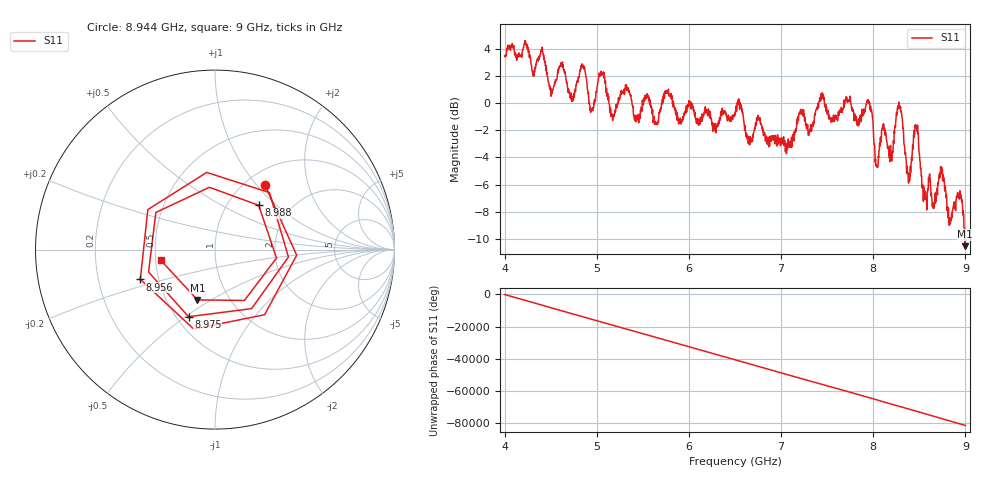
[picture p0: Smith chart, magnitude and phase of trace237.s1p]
! Created with skrf 1.8.0 (http://scikit-rf.org).
# Hz S RI R 50.0
!freq ReS11 ImS11
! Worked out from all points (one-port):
!   1601 points, 4 GHz to 9 GHz, reference 50 ohm
!   lowest |S11| = -10.6 dB at 8.997 GHz (marker M1), VSWR 1.84, Z = 35.5 - j21.8 ohm
!   |S11| at or under -10 dB: 8.995062 GHz to end of sweep
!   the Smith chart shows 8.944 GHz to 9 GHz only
!   S11 on the Smith chart (normalised r, x): 8.944 GHz: 1.21, +1.11; 8.956 GHz: 0.39, -0.16; 8.975 GHz: 0.58, -0.51; 8.988 GHz: 1.39, +0.78; 9 GHz: 0.53, -0.07
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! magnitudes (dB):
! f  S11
! 4 GHz  3.5
! 4.406 GHz  4.0
! 4.509 GHz  1.0
! 4.625 GHz  3.0
! 4.734 GHz  0.3
! 4.853 GHz  2.8
! 4.941 GHz  -0.5
! 5.053 GHz  2.2
! 5.166 GHz  -0.8
! 5.25 GHz  0.3
! 5.875 GHz  -0.9
! 6.5 GHz  -0.9
! 7.125 GHz  -2.4
! 7.75 GHz  0.5
! 7.956 GHz  0.1
! 8.041 GHz  -4.7
! 8.112 GHz  -1.5
! 8.2 GHz  -4.3
! 8.288 GHz  -0.2
! 8.375 GHz  -5.1
! 8.462 GHz  -1.8
! 8.559 GHz  -6.8
! 8.944 GHz  -6.8
! 8.956 GHz  -7.0
! 8.975 GHz  -7.9
! 8.988 GHz  -9.2
! 8.997 GHz  -10.6
! 9 GHz  -10.3
